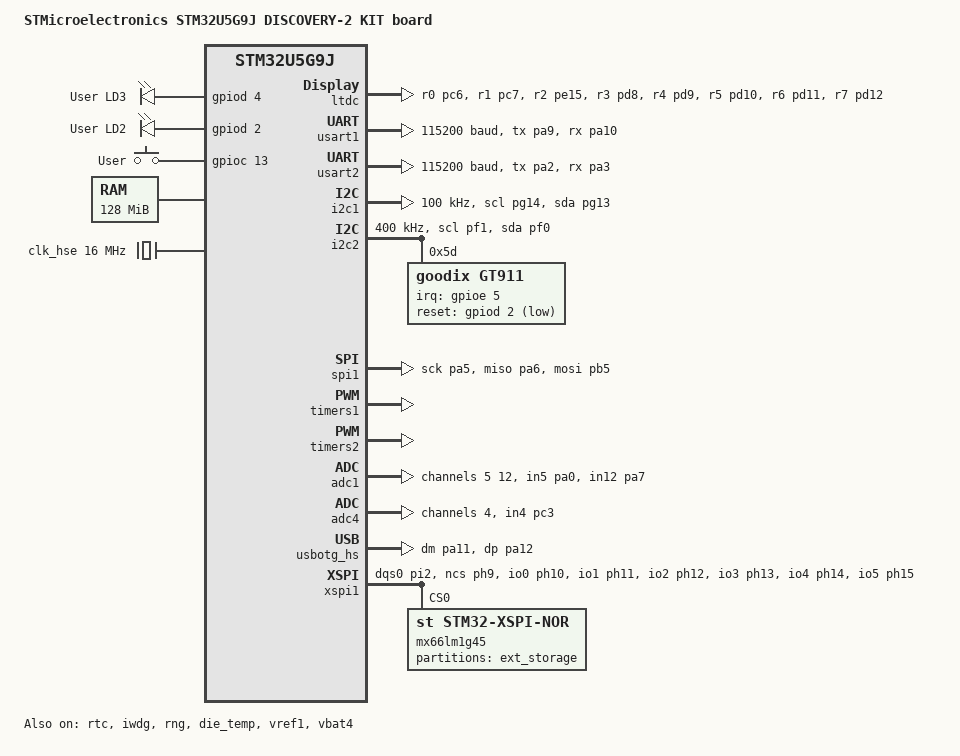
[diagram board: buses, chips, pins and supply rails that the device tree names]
/*
 * Copyright (c) 2025 STMicroelectronics
 *
 * SPDX-License-Identifier: Apache-2.0
 */

/dts-v1/;
#include <st/u5/stm32u5g9Xj.dtsi>
#include <st/u5/stm32u5g9zjtxq-pinctrl.dtsi>
#include <zephyr/dt-bindings/display/panel.h>
#include <zephyr/dt-bindings/input/input-event-codes.h>

/ {
	model = "STMicroelectronics STM32U5G9J DISCOVERY-2 KIT board";
	compatible = "st,stm32u5g9j-dk2";

	chosen {
		zephyr,console = &usart1;
		zephyr,shell-uart = &usart1;
		zephyr,sram = &sram0;
		zephyr,flash = &flash0;
		zephyr,code-partition = &slot0_partition;
		zephyr,display = &ltdc;
		zephyr,touch = &gt911;
	};

	leds {
		compatible = "gpio-leds";

		green_led_0: led_3 {
			gpios = <&gpiod 4 GPIO_ACTIVE_HIGH>;
			label = "User LD3";
		};

		red_led_0: led_2 {
			gpios = <&gpiod 2 GPIO_ACTIVE_HIGH>;
			label = "User LD2";
		};
	};

	gpio_keys {
		compatible = "gpio-keys";

		user_button: button_0 {
			label = "User";
			gpios = <&gpioc 13 (GPIO_ACTIVE_HIGH | GPIO_PULL_DOWN)>;
			zephyr,code = <INPUT_KEY_0>;
		};
	};

	aliases {
		led0 = &green_led_0;
		led1 = &red_led_0;
		sw0 = &user_button;
		sdhc0 = &sdmmc1; /* disabled by default : conflict with ltdc node */
		watchdog0 = &iwdg;
		die-temp0 = &die_temp;
		volt-sensor0 = &vref1;
		volt-sensor1 = &vbat4;
	};

	ext_memory: memory@a0000000 {
		compatible = "zephyr,memory-region";
		reg = <0xa0000000 DT_SIZE_M(128)>;
		zephyr,memory-region = "EXTMEM";
		/* The ATTR_MPU_EXTMEM attribut causing a MPU FAULT */
		zephyr,memory-attr = <( DT_MEM_ARM(ATTR_MPU_IO) )>;
	};
};

&ltdc {
	pinctrl-0 = <&ltdc_r0_pc6 &ltdc_r1_pc7 &ltdc_r2_pe15 &ltdc_r3_pd8
			&ltdc_r4_pd9 &ltdc_r5_pd10 &ltdc_r6_pd11 &ltdc_r7_pd12
			&ltdc_g0_pc8 &ltdc_g1_pc9 &ltdc_g2_pe9 &ltdc_g3_pe10
			&ltdc_g4_pe11 &ltdc_g5_pe12 &ltdc_g6_pe13 &ltdc_g7_pe14
			&ltdc_b0_pb9 &ltdc_b1_pb2 &ltdc_b2_pd14 &ltdc_b3_pd15
			&ltdc_b4_pd0 &ltdc_b5_pd1 &ltdc_b6_pe7 &ltdc_b7_pe8
			&ltdc_de_pd6 &ltdc_clk_pd3 &ltdc_hsync_pe0 &ltdc_vsync_pd13>;
	pinctrl-names = "default";
	disp-on-gpios = <&gpioe 4 GPIO_ACTIVE_HIGH>;
	bl-ctrl-gpios = <&gpioe 6 GPIO_ACTIVE_HIGH>;
	status = "okay";

	width = <800>;
	height = <480>;
	pixel-format = <PANEL_PIXEL_FORMAT_RGB_888>;

	def-back-color-red = <0x00>;
	def-back-color-green = <0x00>;
	def-back-color-blue = <0x00>;

	display-timings {
		compatible = "zephyr,panel-timing";
		de-active = <0>;
		pixelclk-active = <0>;
		hsync-active = <0>;
		vsync-active = <0>;
		hsync-len = <5>;
		vsync-len = <5>;
		hback-porch = <8>;
		vback-porch = <8>;
		hfront-porch = <8>;
		vfront-porch = <14>;
	};
};

&clk_hsi48 {
	status = "okay";
};

&clk_hse {
	clock-frequency = <DT_FREQ_M(16)>;
	status = "okay";
};

&clk_msis {
	status = "okay";
	msi-range = <4>; /* 4MHz (reset value) */
	msi-pll-mode;
};

&clk_lse {
	status = "okay";
};

&pll1 {
	div-m = <4>;
	mul-n = <80>;
	div-p = <2>;
	div-q = <2>;
	div-r = <2>;
	clocks = <&clk_hse>;
	status = "okay";
};

&pll2 {
	div-m = <4>;
	mul-n = <66>;
	div-p = <2>;
	div-q = <2>;
	div-r = <2>;
	clocks = <&clk_hse>;
	status = "okay";
};

&pll3 {
	div-m = <4>;
	mul-n = <125>;
	div-p = <20>;
	div-q = <20>;
	div-r = <20>;
	clocks = <&clk_hse>;
	status = "okay";
};

&rcc {
	clocks = <&pll1>;
	clock-frequency = <DT_FREQ_M(160)>;
	ahb-prescaler = <1>;
	apb1-prescaler = <1>;
	apb2-prescaler = <1>;
	apb3-prescaler = <1>;
};

&usart1 {
	pinctrl-0 = <&usart1_tx_pa9 &usart1_rx_pa10>;
	pinctrl-names = "default";
	current-speed = <115200>;
	status = "okay";
};

&usart2 {
	pinctrl-0 = <&usart2_tx_pa2 &usart2_rx_pa3>;
	pinctrl-names = "default";
	current-speed = <115200>;
	status = "okay";
};

&i2c1 {
	pinctrl-0 = <&i2c1_scl_pg14 &i2c1_sda_pg13>;
	pinctrl-names = "default";
	status = "okay";
	clock-frequency = <I2C_BITRATE_STANDARD>;
};

&i2c2 {
	pinctrl-names = "default";
	pinctrl-0 = <&i2c2_scl_pf1 &i2c2_sda_pf0>;
	status = "okay";
	clock-frequency = <I2C_BITRATE_FAST>;

	gt911: gt911@5d {
		compatible = "goodix,gt911";
		reg = <0x5d>;
		irq-gpios = <&gpioe 5 GPIO_ACTIVE_HIGH>;
		reset-gpios = <&gpiod 2 GPIO_ACTIVE_LOW>;
	};
};

&spi1 {
	pinctrl-0 = <&spi1_sck_pa5 &spi1_miso_pa6 &spi1_mosi_pb5>;
	pinctrl-names = "default";
	cs-gpios = <&gpiob 11 (GPIO_ACTIVE_LOW | GPIO_PULL_UP)>;
	status = "okay";
};

&timers1 {
	st,prescaler = <1>;
	status = "okay";

	pwm1: pwm {
		status = "okay";
		pinctrl-0 = <&tim1_ch2_pe11>;
		pinctrl-names = "default";
	};
};

&timers2 {
	st,prescaler = <1>;
	status = "okay";

	pwm2: pwm {
		status = "okay";
		pinctrl-0 = <&tim2_ch4_pa3>;
		pinctrl-names = "default";
	};
};

/* Connected to onboard 4-Gbyte eMMC flash memory */
&sdmmc1 {
	pinctrl-0 = <&sdmmc1_d0_pc8 &sdmmc1_d1_pc9
		&sdmmc1_d2_pc10 &sdmmc1_d3_pc11
		&sdmmc1_d4_pb8 &sdmmc1_d5_pb9
		&sdmmc1_d6_pc6 &sdmmc1_d7_pc7
		&sdmmc1_ck_pc12 &sdmmc1_cmd_pd2>;
	pinctrl-names = "default";
	/* disabled due to conflicting pins pc6, pc7, pc8
	 * pc9 and pb9 with LTDC node.
	 */
	status = "disabled";
};

&gpdma1 {
	status = "okay";
};

&adc1 {
	pinctrl-0 = <&adc1_in5_pa0 &adc1_in12_pa7>;
	pinctrl-names = "default";
	st,adc-clock-source = "ASYNC";
	st,adc-prescaler = <1>;
	status = "okay";

	#address-cells = <1>;
	#size-cells = <0>;

	channel@5 {
		reg = <0x5>;
		zephyr,gain = "ADC_GAIN_1";
		zephyr,reference = "ADC_REF_INTERNAL";
		zephyr,acquisition-time = <ADC_ACQ_TIME_DEFAULT>;
		zephyr,resolution = <14>;
	};

	channel@c {
		reg = <0xc>;
		zephyr,gain = "ADC_GAIN_1";
		zephyr,reference = "ADC_REF_INTERNAL";
		zephyr,acquisition-time = <ADC_ACQ_TIME_DEFAULT>;
		zephyr,resolution = <14>;
	};
};

&adc4 {
	pinctrl-0 = <&adc4_in4_pc3>;
	pinctrl-names = "default";
	st,adc-clock-source = "ASYNC";
	st,adc-prescaler = <1>;
	status = "okay";

	#address-cells = <1>;
	#size-cells = <0>;

	channel@4 {
		reg = <0x4>;
		zephyr,gain = "ADC_GAIN_1";
		zephyr,reference = "ADC_REF_INTERNAL";
		zephyr,acquisition-time = <ADC_ACQ_TIME_DEFAULT>;
		zephyr,resolution = <12>;
	};
};

zephyr_udc0: &usbotg_hs {
	pinctrl-0 = <&usb_otg_hs_dm_pa11 &usb_otg_hs_dp_pa12>;
	pinctrl-names = "default";
	status = "okay";
};

&otghs_phy {
	clock-reference = "SYSCFG_OTG_HS_PHY_CLK_16MHz";
};

&flash0 {
	partitions {
		compatible = "fixed-partitions";
		#address-cells = <1>;
		#size-cells = <1>;

		/*
		 * Following flash partition is dedicated to the use of bootloader
		 */
		boot_partition: partition@0 {
			label = "mcuboot";
			reg = <0x00000000 DT_SIZE_K(64)>;
		};

		slot0_partition: partition@10000 {
			label = "image-0";
			reg = <0x00010000 DT_SIZE_K(1952)>;
		};

		slot1_partition: partition@1f8000 {
			label = "image-1";
			reg = <0x001f8000 DT_SIZE_K(1960)>;
		};

		storage_partition: partition@3e2000 {
			label = "storage";
			reg = <0x003e2000 DT_SIZE_K(120)>;
		};
	};
};

&xspi1 {
	clocks = <&rcc STM32_CLOCK(AHB2_2, 12)>,
			 <&rcc STM32_SRC_PLL2_Q HSPI_SEL(2)>;

	pinctrl-0 = <&hspi1_dqs0_pi2 &hspi1_ncs_ph9
		&hspi1_io0_ph10 &hspi1_io1_ph11
		&hspi1_io2_ph12 &hspi1_io3_ph13
		&hspi1_io4_ph14 &hspi1_io5_ph15
		&hspi1_io6_pi0 &hspi1_io7_pi1
		&hspi1_clk_pi3>;
	pinctrl-names = "default";
	status = "okay";

	mx66lm1g45: xspi-nor-flash@0 {
		compatible = "st,stm32-xspi-nor";
		reg = <0>;
		size = <DT_SIZE_M(1024)>; /* 1 Gbits */
		ospi-max-frequency = <DT_FREQ_M(133)>;
		spi-bus-width = <XSPI_OCTO_MODE>;
		data-rate = <XSPI_DTR_TRANSFER>;
		four-byte-opcodes;
		status = "okay";

		partitions {
			compatible = "fixed-partitions";
			#address-cells = <1>;
			#size-cells = <1>;

			extflash_partition: partition@0 {
				label = "ext_storage";
				reg = <0 DT_SIZE_M(128)>;
			};
		};
	};
};

&rtc {
	clocks =  <&rcc STM32_CLOCK(APB3, 21)>,
			  <&rcc STM32_SRC_LSE RTC_SEL(1)>;
	status = "okay";
};

&iwdg {
	status = "okay";
};

&rng {
	status = "okay";
};

&die_temp {
	status = "okay";
};

&vref1 {
	status = "okay";
};

&vbat4 {
	status = "okay";
};
